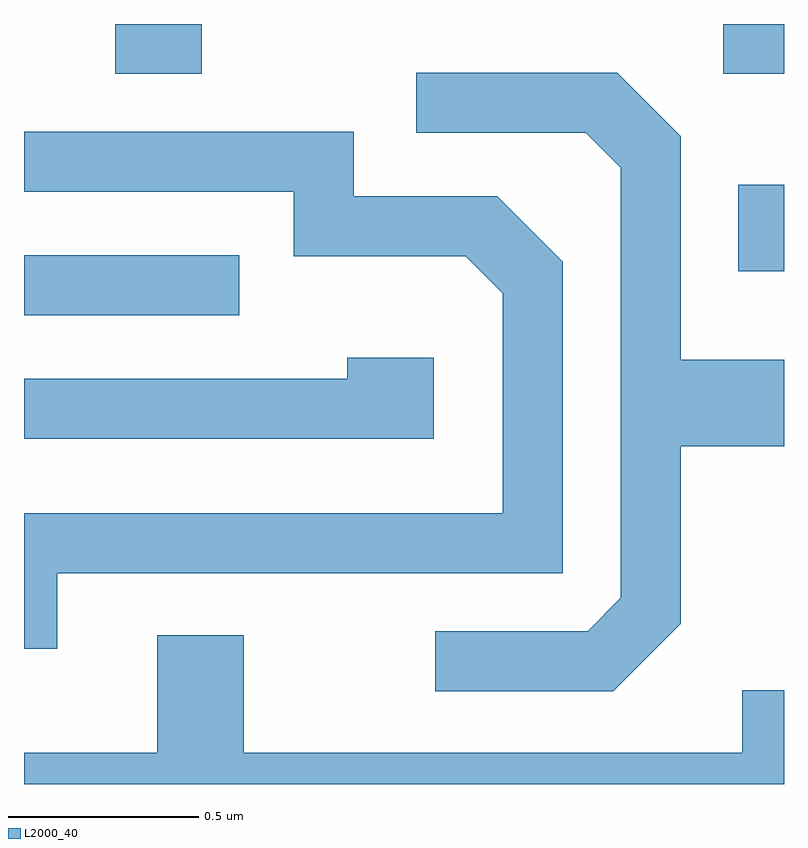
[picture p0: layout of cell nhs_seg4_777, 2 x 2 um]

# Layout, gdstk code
import gdstk
lib = gdstk.Library(unit=1e-6, precision=1e-09)
def R(c, l, rs):  # rectangles x0, y0, x1, y1
    for r in rs: c.add(gdstk.rectangle(r[:2], r[2:], *l))
def P(c, l, *ps):  # polygons
    for p in ps: c.add(gdstk.Polygon(p, *l))
L2000_40 = (2000, 40)

nhs_seg4_777 = lib.new_cell('nhs_seg4_777')
R(nhs_seg4_777, L2000_40, [(190.611,1347.216,191.178,1347.374), (192.491,1347.331,192.611,1347.559), (190.851,1347.851,191.079,1347.982), (192.451,1347.851,192.611,1347.982)])
P(nhs_seg4_777, L2000_40, [(192.339,1346.404),(192.339,1346.871),(192.611,1346.871),(192.611,1347.099),(192.339,1347.099),(192.339,1347.687),(192.172,1347.854),(191.643,1347.854),(191.643,1347.696),(192.089,1347.696),(192.181,1347.604),(192.181,1346.472),(192.094,1346.384),(191.693,1346.384),(191.693,1346.226),(192.162,1346.226)],
  [(190.699,1346.536),(192.029,1346.536),(192.029,1347.357),(191.857,1347.529),(191.479,1347.529),(191.479,1347.699),(190.611,1347.699),(190.611,1347.541),(191.321,1347.541),(191.321,1347.371),(191.774,1347.371),(191.871,1347.274),(191.871,1346.694),(190.611,1346.694),(190.611,1346.338),(190.699,1346.338)],
  [(191.689,1347.104),(191.461,1347.104),(191.461,1347.049),(190.611,1347.049),(190.611,1346.891),(191.689,1346.891)],
  [(192.611,1346.229),(192.501,1346.229),(192.501,1346.064),(191.189,1346.064),(191.189,1346.374),(190.961,1346.374),(190.961,1346.064),(190.611,1346.064),(190.611,1345.982),(192.611,1345.982)])

lib.write_gds('nhs_seg4_777.gds')
